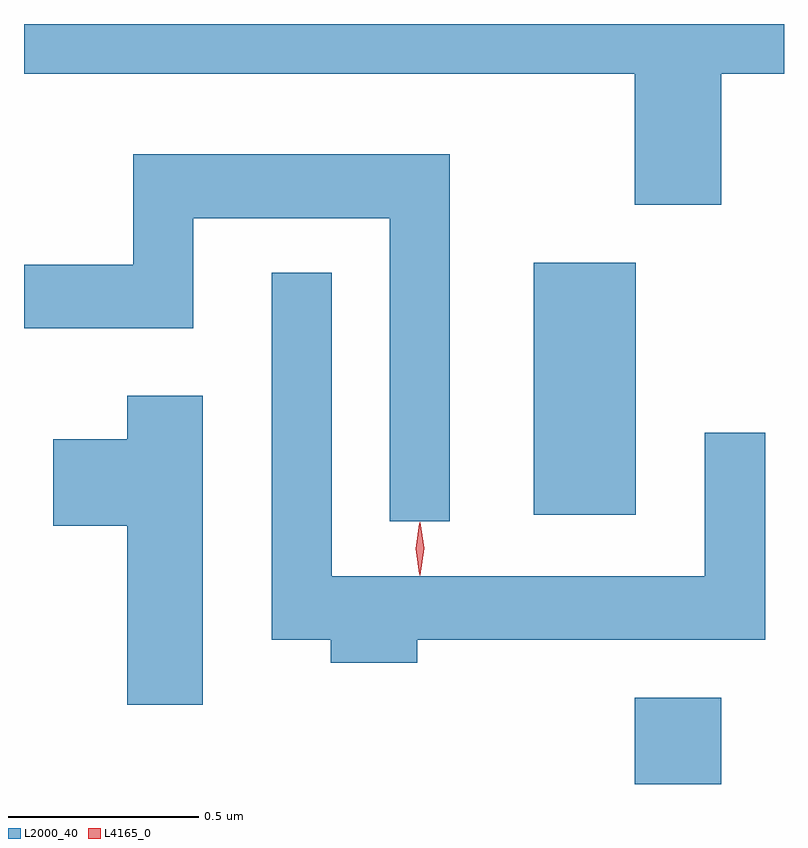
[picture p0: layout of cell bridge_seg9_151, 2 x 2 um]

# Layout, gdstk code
import gdstk
lib = gdstk.Library(unit=1e-6, precision=1e-09)
def R(c, l, rs):  # rectangles x0, y0, x1, y1
    for r in rs: c.add(gdstk.rectangle(r[:2], r[2:], *l))
def P(c, l, *ps):  # polygons
    for p in ps: c.add(gdstk.Polygon(p, *l))
L2000_40 = (2000, 40)
L4165_0 = (4165, 0)

bridge_seg9_151 = lib.new_cell('bridge_seg9_151')
R(bridge_seg9_151, L2000_40, [(1412.471,2072.087,1412.699,2072.314), (1412.206,2072.796,1412.474,2073.459)])
P(bridge_seg9_151, L2000_40, [(1412.699,2073.956),(1412.864,2073.956),(1412.864,2074.087),(1410.864,2074.087),(1410.864,2073.956),(1412.471,2073.956),(1412.471,2073.611),(1412.699,2073.611)],
  [(1411.984,2073.744),(1411.151,2073.744),(1411.151,2073.454),(1410.864,2073.454),(1410.864,2073.286),(1411.309,2073.286),(1411.309,2073.576),(1411.826,2073.576),(1411.826,2072.778),(1411.984,2072.778)],
  [(1411.899,2072.466),(1412.814,2072.466),(1412.814,2073.012),(1412.656,2073.012),(1412.656,2072.634),(1411.674,2072.634),(1411.674,2073.433),(1411.516,2073.433),(1411.516,2072.466),(1411.671,2072.466),(1411.671,2072.406),(1411.899,2072.406)],
  [(1411.334,2073.109),(1411.136,2073.109),(1411.136,2072.994),(1410.941,2072.994),(1410.941,2072.766),(1411.136,2072.766),(1411.136,2072.296),(1411.334,2072.296)])
P(bridge_seg9_151, L4165_0, [(1411.906,2072.637),(1411.897,2072.707),(1411.906,2072.776),(1411.907,2072.776),(1411.907,2072.776),(1411.917,2072.707),(1411.907,2072.637),(1411.907,2072.637)],
  [(1411.904,2072.64),(1411.895,2072.706),(1411.904,2072.772),(1411.905,2072.773),(1411.905,2072.772),(1411.915,2072.706),(1411.905,2072.64),(1411.905,2072.64)])

lib.write_gds('bridge_seg9_151.gds')
